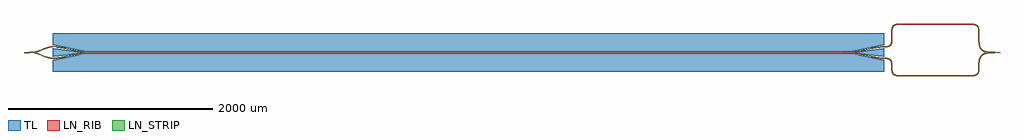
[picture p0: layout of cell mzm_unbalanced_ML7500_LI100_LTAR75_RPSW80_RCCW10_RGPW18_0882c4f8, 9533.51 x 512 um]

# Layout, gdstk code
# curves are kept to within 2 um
import gdstk
lib = gdstk.Library(unit=1e-6, precision=1e-09)
def P(c, l, *ps):  # polygons
    for p in ps: c.add(gdstk.Polygon(p, *l))
LN_STRIP = (2, 0)
LN_RIB = (3, 0)
TL = (21, 0)

uni_cpw_straight_l7500_c = lib.new_cell('uni_cpw_straight_L7500_CSFxs_uni_cpw_Mlnoi400ptech_SCCW_91a2691e')
P(uni_cpw_straight_l7500_c, TL, [(-310,-189),(-310,-72),(-300,-72),(0,-9),(7500,-9),(7800,-72),(7810,-72),(7810,-189)],
  [(-310,-40),(-310,40),(-300,40),(0,5),(7500,5),(7800,40),(7810,40),(7810,-40),(7800,-40),(7500,-5),(0,-5),(-300,-40)],
  [(0,9),(-300,72),(-310,72),(-310,189),(7810,189),(7810,72),(7800,72),(7500,9)])

c__mzm_interferometer_smmi = lib.new_cell('_mzm_interferometer_Smmi1x2_optimized1550_TL100_RCWM2p5_c9841c55')
P(c__mzm_interferometer_smmi, LN_STRIP, [(8525.725,-226.5),(8512.568,-226.285),(8502.457,-225.475),(8497.768,-224.777),(8493.45,-223.898),(8489.513,-222.862),(8485.644,-221.587),(8481.866,-220.053),(8478.209,-218.243),(8474.992,-216.331),(8471.665,-213.959),(8468.817,-211.522),(8466.426,-209.091),(8464.035,-206.206),(8461.895,-203.132),(8458.783,-197.471),(8457.43,-194.353),(8456.155,-190.841),(8454.287,-183.968),(8452.935,-175.953),(8452.308,-169.216),(8451.985,-161.454),(8451.893,-124.603),(8451.596,-114.189),(8451.155,-108.502),(8450.424,-102.852),(8449.556,-98.246),(8448.313,-93.386),(8446.337,-87.708),(8443.933,-82.571),(8441.16,-78.018),(8437.875,-73.827),(8434.082,-70.096),(8430.117,-67.061),(8425.249,-64.165),(8420.082,-61.826),(8415.664,-60.29),(8410.817,-59),(8405.558,-57.986),(8399.908,-57.255),(8390.194,-56.638),(8364.387,-56.397),(8347.941,-55.577),(8337.513,-54.668),(8327.087,-53.487),(8316.262,-51.999),(8304.635,-50.135),(8285.395,-46.535),(8264.556,-42.067),(8244.523,-37.393),(8193.257,-24.961),(8167.233,-19.102),(8154.424,-16.493),(8141.617,-14.127),(8129.211,-12.11),(8117.208,-10.455),(8106.006,-9.208),(8096.006,-8.363),(8086.007,-7.793),(8076.809,-7.531),(8048.218,-7.566),(7968.42,-8.25),(7968.42,-5.75),(8080.032,-6.593),(8088.857,-6.925),(8097.681,-7.483),(8107.307,-8.332),(8116.931,-9.413),(8128.558,-11.001),(8140.586,-12.934),(8153.012,-15.201),(8167.039,-18.039),(8193.887,-24.082),(8243.154,-36.036),(8265.577,-41.272),(8285.993,-45.635),(8305.605,-49.286),(8316.409,-51.01),(8327.212,-52.495),(8337.614,-53.673),(8347.614,-54.55),(8364.012,-55.387),(8390.564,-55.65),(8400.345,-56.295),(8406.385,-57.108),(8411.7,-58.18),(8416.929,-59.639),(8421.393,-61.275),(8426.611,-63.757),(8431.24,-66.621),(8435.248,-69.788),(8439.071,-73.675),(8442.366,-78.013),(8445.132,-82.701),(8447.515,-87.963),(8449.461,-93.755),(8450.604,-98.363),(8451.516,-103.364),(8452.183,-108.738),(8452.613,-114.471),(8452.893,-124.595),(8452.965,-160.424),(8453.188,-167.14),(8453.665,-173.498),(8454.56,-180.139),(8455.884,-186.358),(8457.536,-191.794),(8459.688,-197.044),(8462.56,-202.312),(8465.863,-206.908),(8469.744,-211.018),(8474.154,-214.56),(8479.276,-217.68),(8485.049,-220.295),(8491.083,-222.268),(8497.941,-223.793),(8503.246,-224.563),(8508.924,-225.082),(8515.298,-225.383),(8523.706,-225.497),(9232.797,-225.49),(9245.226,-225.126),(9250.575,-224.675),(9255.558,-224.014),(9260.164,-223.146),(9264.382,-222.089),(9268.518,-220.762),(9272.545,-219.14),(9276.425,-217.204),(9279.841,-215.125),(9283.06,-212.757),(9285.802,-210.333),(9288.314,-207.672),(9290.778,-204.528),(9292.953,-201.173),(9294.844,-197.646),(9297.172,-192.108),(9299.018,-186.034),(9300.371,-179.479),(9301.282,-172.162),(9301.681,-166.134),(9301.866,-159.751),(9301.935,-120.536),(9302.299,-105.002),(9302.815,-96.566),(9303.497,-89.495),(9304.403,-82.788),(9305.599,-76.123),(9307.295,-68.868),(9309.436,-61.728),(9311.805,-55.375),(9314.606,-49.198),(9317.689,-43.536),(9321.197,-38.125),(9325.138,-33.017),(9329.032,-28.752),(9333.26,-24.818),(9337.782,-21.231),(9343.134,-17.632),(9348.446,-14.617),(9354.261,-11.839),(9360.247,-9.458),(9366.365,-7.45),(9373.244,-5.634),(9379.876,-4.262),(9386.897,-3.156),(9393.956,-2.348),(9402.048,-1.731),(9416.231,-1.233),(9456.76,-0.9),(9456.76,0.9),(9415.556,1.244),(9399.686,1.881),(9390.927,2.661),(9382.879,3.749),(9375.558,5.116),(9368.647,6.8),(9360.885,9.229),(9353.951,11.975),(9347.248,15.254),(9341.129,18.908),(9335.354,23.087),(9330.242,27.56),(9325.578,32.5),(9321.197,38.125),(9317.689,43.536),(9314.758,48.894),(9312.065,54.749),(9309.654,61.086),(9307.65,67.56),(9305.876,74.798),(9304.509,82.119),(9303.421,90.167),(9302.434,102.301),(9301.973,116.822),(9301.793,213.112),(9301.492,219.486),(9300.973,225.164),(9300.203,230.469),(9299.258,235.059),(9297.172,242.108),(9294.548,248.245),(9292.953,251.173),(9291.16,253.982),(9289.376,256.39),(9287.202,258.91),(9285.076,261.018),(9282.539,263.172),(9279.841,265.125),(9277.006,266.878),(9271.011,269.8),(9264.382,272.089),(9257.868,273.613),(9250.575,274.675),(9242.544,275.271),(9232.797,275.49),(8502.662,275.5),(8512.231,276.27),(8524.714,276.499),(9231.454,276.496),(9241.577,276.313),(9249.672,275.773),(9257.386,274.718),(9264.001,273.233),(9270.763,270.98),(9274.188,269.481),(9277.206,267.914),(9279.828,266.331),(9282.616,264.375),(9284.992,262.437),(9287.224,260.331),(9289.293,258.066),(9291.394,255.385),(9293.107,252.844),(9294.815,249.901),(9297.638,243.72),(9299.818,236.936),(9300.942,231.976),(9301.8,226.625),(9302.417,220.566),(9302.76,214.154),(9302.907,204.707),(9302.998,115.15),(9303.616,99.33),(9304.202,92.286),(9304.907,86.271),(9306.253,77.972),(9308.091,69.774),(9310.277,62.365),(9312.858,55.445),(9315.955,48.745),(9319.243,42.899),(9323.196,37.075),(9327.443,31.892),(9332.404,26.908),(9337.835,22.436),(9343.659,18.483),(9350.403,14.742),(9357.449,11.592),(9365.043,8.898),(9373.144,6.685),(9381.379,5.012),(9388.031,4.015),(9394.386,3.312),(9401.435,2.77),(9409.173,2.406),(9431.76,2.15),(9456.76,2.4),(9456.76,3),(9483.51,3),(9483.51,0.75),(9508.51,0.5),(9508.51,-0.5),(9483.51,-0.75),(9483.51,-3),(9456.76,-3),(9456.76,-2.4),(9431.76,-2.15),(9415.91,-2.238),(9407.153,-2.481),(9398.747,-2.95),(9390.704,-3.692),(9383.702,-4.631),(9375.767,-6.094),(9368.587,-7.854),(9361.536,-10.06),(9354.969,-12.622),(9348.612,-15.659),(9342.806,-19.016),(9337.299,-22.839),(9332.404,-26.908),(9327.894,-31.396),(9323.599,-36.539),(9319.776,-42.046),(9316.419,-47.852),(9313.382,-54.209),(9310.82,-60.776),(9308.524,-68.151),(9306.715,-75.665),(9305.496,-82.278),(9304.529,-89.275),(9303.812,-96.644),(9303.298,-105.047),(9302.935,-120.544),(9302.871,-159.429),(9302.442,-170.228),(9301.843,-176.289),(9300.942,-181.976),(9299.643,-187.591),(9298.113,-192.447),(9295.442,-198.694),(9292.366,-203.987),(9288.622,-208.838),(9284.476,-212.883),(9279.542,-216.515),(9274.188,-219.481),(9267.895,-222.04),(9261.37,-223.898),(9255.046,-225.106),(9248.661,-225.868),(9241.239,-226.326),(9231.454,-226.496)],
  [(7968.42,5.75),(7968.42,8.25),(8048.218,7.566),(8077.209,7.537),(8087.207,7.846),(8097.206,8.45),(8107.206,9.327),(8117.608,10.505),(8129.211,12.11),(8141.617,14.127),(8154.424,16.493),(8167.233,19.102),(8193.257,24.961),(8244.123,37.297),(8263.755,41.886),(8284.994,46.454),(8303.834,49.997),(8315.46,51.879),(8325.884,53.334),(8336.31,54.545),(8347.139,55.517),(8355.963,56.075),(8364.387,56.397),(8390.53,56.649),(8400.908,57.361),(8407.539,58.326),(8413.415,59.645),(8418.832,61.352),(8424.056,63.566),(8429.004,66.328),(8433.574,69.666),(8437.428,73.334),(8440.97,77.744),(8443.933,82.571),(8446.461,88.018),(8448.499,94.028),(8450.023,100.542),(8450.719,104.84),(8451.282,109.838),(8451.849,121.24),(8451.914,205.044),(8452.265,218.542),(8453.064,226.96),(8454.436,234.63),(8456.37,241.485),(8458.929,247.778),(8461.006,251.681),(8463.426,255.385),(8465.973,258.582),(8468.817,261.522),(8471.934,264.168),(8475.566,266.697),(8479.413,268.878),(8483.427,270.725),(8487.891,272.361),(8492.46,273.66),(8497.434,274.718),(8502.662,275.5),(8525.726,275.5),(8511.605,275.239),(8506.248,274.872),(8500.919,274.263),(8495.966,273.421),(8491.405,272.355),(8487.248,271.093),(8483.193,269.542),(8479.571,267.835),(8475.816,265.672),(8472.281,263.172),(8469.258,260.563),(8466.506,257.672),(8464.042,254.528),(8461.867,251.173),(8459.831,247.346),(8457.317,241.162),(8455.41,234.407),(8454.101,227.16),(8453.284,218.816),(8452.92,206.387),(8452.842,120.884),(8452.278,109.749),(8451.71,104.704),(8450.942,100.024),(8449.461,93.755),(8447.39,87.647),(8444.815,82.099),(8441.789,77.17),(8438.164,72.657),(8434.215,68.898),(8429.542,65.485),(8424.494,62.667),(8419.495,60.531),(8414.001,58.767),(8408.053,57.405),(8401.354,56.405),(8390.564,55.65),(8364.012,55.387),(8347.214,54.52),(8336.013,53.509),(8325.612,52.291),(8314.408,50.708),(8303.203,48.873),(8283.992,45.23),(8263.575,40.82),(8243.154,36.036),(8195.089,24.366),(8168.242,18.294),(8155.417,15.668),(8141.788,13.142),(8129.36,11.121),(8117.733,9.513),(8108.51,8.455),(8098.884,7.576),(8090.061,6.988),(8080.433,6.603)],
  [(252.41,-56.5),(241.944,-56.052),(230.276,-54.578),(218.213,-52.114),(204.953,-48.482),(192.904,-44.507),(180.059,-39.738),(135.55,-21.534),(118.326,-14.942),(99.914,-8.938),(83.916,-5.012),(72.326,-3.132),(61.941,-2.263),(26.75,-2.4),(26.75,-3),(0,-3),(0,-0.75),(-25,-0.5),(-25,0.5),(0,0.75),(0,3),(26.75,3),(26.75,2.4),(59.944,2.193),(72.326,3.132),(85.115,5.256),(101.114,9.286),(118.726,15.086),(135.55,21.534),(180.059,39.738),(204.149,48.235),(217.007,51.821),(229.069,54.372),(240.334,55.907),(251.202,56.494),(270.433,56.397),(286.879,55.577),(304.525,53.878),(323.369,51.259),(343.012,47.799),(365.054,43.229),(451.173,22.727),(487.2,15.203),(507.609,11.813),(526.013,9.491),(544.014,8.031),(560.81,7.504),(666.4,8.25),(7968.42,8.25),(7968.42,5.75),(650.238,5.803),(554.387,6.603),(537.139,7.483),(517.889,9.413),(494.234,12.934),(467.781,18.039),(440.933,24.082),(371.245,40.82),(350.828,45.23),(331.617,48.873),(310.009,52.187),(290.006,54.331),(272.008,55.353),(251.212,55.494),(240.03,54.872),(228.442,53.245),(216.447,50.651),(203.644,47.031),(179.219,38.338),(121.475,15.025),(105.814,9.665),(91.349,5.633),(78.08,2.94),(66.009,1.502),(26.75,0.9),(26.75,-0.9),(58.763,-1.167),(66.411,-1.533),(79.286,-3.14),(92.956,-6.029),(106.617,-9.917),(122.277,-15.321),(179.219,-38.338),(203.644,-47.031),(216.447,-50.651),(228.442,-53.245),(240.03,-54.872),(251.212,-55.494),(272.008,-55.353),(290.006,-54.331),(310.009,-52.187),(331.617,-48.873),(350.828,-45.23),(371.245,-40.82),(439.731,-24.366),(466.578,-18.294),(493.032,-13.142),(517.087,-9.513),(535.534,-7.608),(553.183,-6.636),(648.218,-5.816),(7968.42,-5.75),(7968.42,-8.25),(666.4,-8.25),(560.011,-7.509),(543.214,-8.077),(525.613,-9.533),(506.409,-11.99),(487.2,-15.203),(451.173,-22.727),(365.054,-43.229),(343.012,-47.799),(323.369,-51.259),(304.525,-53.878),(286.879,-55.577),(270.433,-56.397)])
P(c__mzm_interferometer_smmi, LN_RIB, [(8527.41,-231),(8501.554,-229.897),(8485.816,-226.415),(8469.784,-218.186),(8458.303,-205.865),(8451.995,-192.594),(8448.513,-176.856),(8447.121,-114.767),(8444.578,-96.766),(8436.761,-79.598),(8428.812,-71.649),(8420.982,-67.092),(8401.37,-61.944),(8349.642,-60.208),(8308.321,-55.313),(8268.394,-47.534),(8146.407,-19.556),(8107.152,-13.845),(8080.688,-12.112),(562.41,-12),(527.668,-13.845),(488.413,-19.556),(366.426,-47.534),(326.499,-55.313),(285.178,-60.208),(252.41,-61),(226.643,-58.508),(203.638,-52.785),(121.158,-20.773),(91.228,-11.266),(62.131,-6.776),(26.75,-6.65),(26.75,-5),(-25,-5),(-25,5),(26.75,5),(26.75,6.65),(62.131,6.776),(84.982,9.826),(115.219,18.61),(203.638,52.785),(226.643,58.508),(252.41,61),(285.178,60.208),(326.499,55.313),(366.426,47.534),(488.413,19.556),(527.668,13.845),(562.41,12),(8080.688,12.112),(8107.152,13.845),(8146.407,19.556),(8268.394,47.534),(8308.321,55.313),(8349.642,60.208),(8401.37,61.944),(8414.941,64.778),(8423.713,68.443),(8431.143,73.504),(8438.449,82.081),(8442.617,90.546),(8445.98,103.562),(8447.39,124.307),(8447.753,218.467),(8449.892,234.931),(8455.524,251.044),(8463.602,262.668),(8473.979,271),(8527.41,271),(8503.45,270.056),(8486.956,266.207),(8473.677,258.496),(8463.502,244.572),(8459.464,231.866),(8457.699,217.233),(8457.386,123.876),(8455.681,100.93),(8451.57,85.98),(8446.517,76.135),(8439.078,67.192),(8430.695,60.909),(8419.004,55.585),(8403.266,52.103),(8346.762,49.972),(8308.74,45.248),(8271.348,37.945),(8155.476,11.095),(8119.103,5.151),(8079.735,2.085),(562.41,2),(523.82,4.194),(489.03,9.28),(326.08,45.248),(288.058,49.972),(252.41,51),(230.015,48.954),(204.986,42.735),(118.157,9.042),(86.786,0),(118.157,-9.042),(204.986,-42.735),(230.015,-48.954),(252.41,-51),(288.058,-49.972),(326.08,-45.248),(489.03,-9.28),(523.82,-4.194),(562.41,-2),(8079.735,-2.085),(8119.103,-5.151),(8155.476,-11.095),(8271.348,-37.945),(8308.74,-45.248),(8346.762,-49.972),(8403.266,-52.103),(8415.188,-54.427),(8427.454,-59.114),(8437.674,-65.931),(8444.596,-73.374),(8450.108,-82.612),(8453.983,-93.222),(8457.067,-113.533),(8457.965,-171.118),(8460.242,-185.234),(8463.502,-194.572),(8468.059,-202.402),(8476.008,-210.351),(8483.838,-214.908),(8496.544,-218.946),(8527.41,-221),(9239.062,-220.894),(9258.276,-218.946),(9273.713,-213.557),(9284.906,-204.733),(9291.318,-194.572),(9294.578,-185.234),(9296.855,-171.118),(9297.625,-109.594),(9299.748,-83.47),(9306.107,-57.625),(9315.515,-38.499),(9327.909,-23.571),(9341.691,-13.243),(9358.385,-5.347),(9378.219,0),(9355.408,6.484),(9334.544,18.029),(9318.789,33.784),(9307.244,54.648),(9300.917,76.595),(9297.979,101.368),(9297.39,207.693),(9295.98,228.438),(9292.617,241.454),(9288.449,249.919),(9276.329,262.039),(9258.276,268.946),(9234.103,270.98),(8473.979,271),(8493.479,278.518),(8520.286,280.976),(9240.027,280.87),(9261.341,278.518),(9279.087,272.017),(9292.479,261.264),(9301.57,246.02),(9304.928,234.931),(9307.067,218.467),(9307.601,110.56),(9309.547,85.576),(9313.393,67.477),(9318.426,53.951),(9325.146,42.077),(9333.161,32.401),(9342.837,24.386),(9354.711,17.666),(9383.107,9.284),(9411.32,6.841),(9456.76,6.65),(9456.76,5),(9508.51,5),(9508.51,-5),(9456.76,-5),(9456.76,-6.65),(9403.692,-7.148),(9377.029,-10.427),(9352.125,-18.912),(9333.161,-32.401),(9319.672,-51.365),(9314.246,-64.704),(9310.612,-79.138),(9307.601,-110.56),(9307.067,-168.467),(9303.983,-188.778),(9296.517,-205.865),(9285.036,-218.186),(9275.798,-223.698),(9265.188,-227.573),(9234.534,-230.976)])

mzm_unbalanced_ml7500_li = lib.new_cell('mzm_unbalanced_ML7500_LI100_LTAR75_RPSW80_RCCW10_RGPW18_0882c4f8')
mzm_unbalanced_ml7500_li.add(gdstk.Reference(uni_cpw_straight_l7500_c, (0,0)))
mzm_unbalanced_ml7500_li.add(gdstk.Reference(c__mzm_interferometer_smmi, (-567.41,0)))

lib.write_gds('mzm_unbalanced_ML7500_LI100_LTAR75_RPSW80_RCCW10_RGPW18_0882c4f8.gds')
